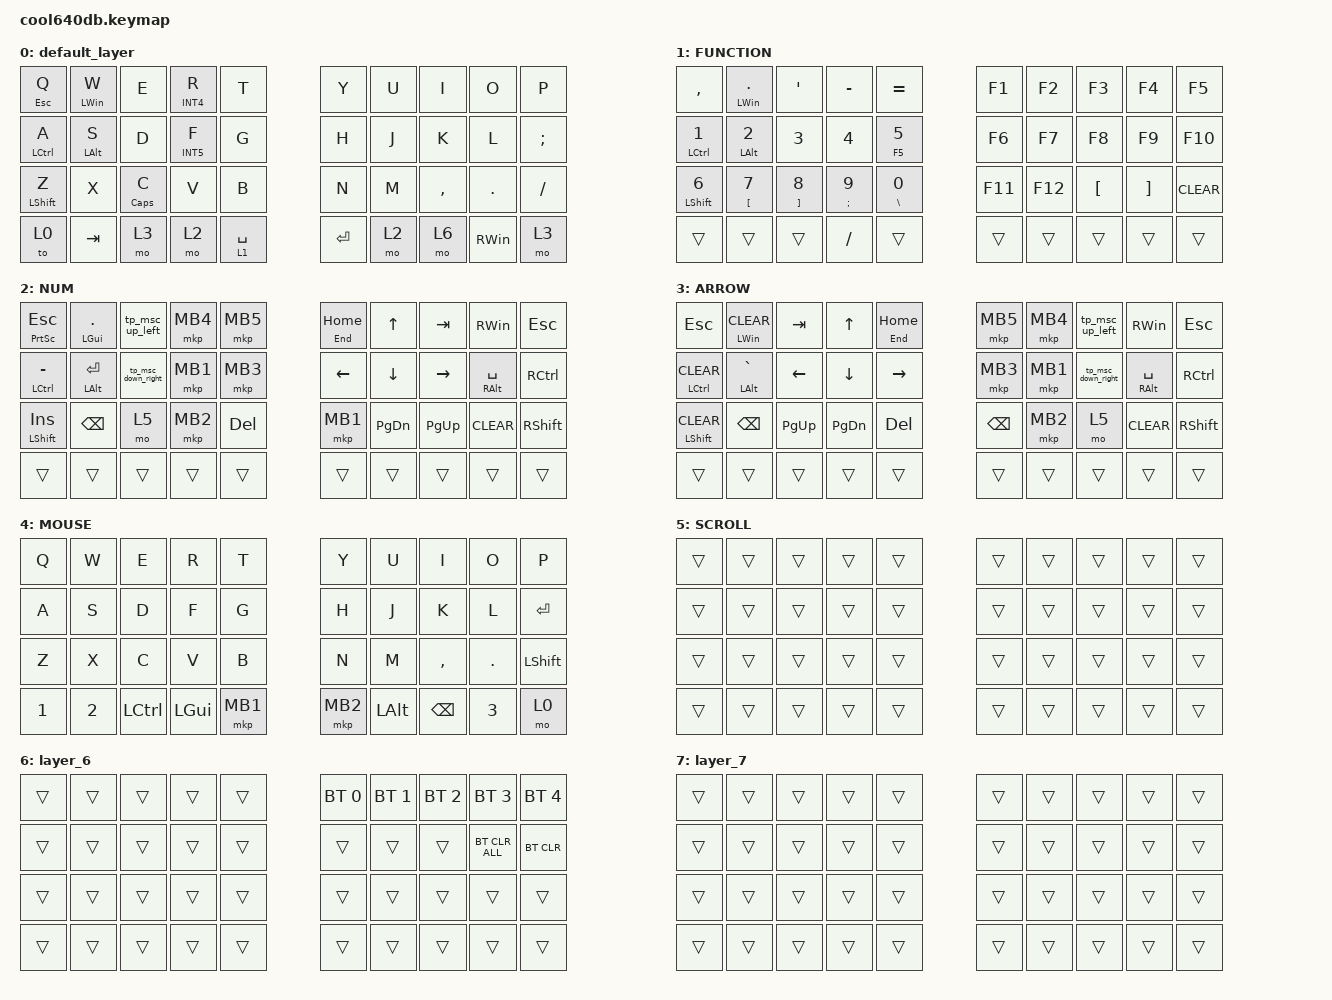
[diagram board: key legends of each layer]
#include <behaviors.dtsi>
#include <dt-bindings/zmk/bt.h>
#include <dt-bindings/zmk/keys.h>
#include <dt-bindings/zmk/pointing.h>

#define MOUSE 6

&mt {
    flavor = "balanced";
    quick-tap-ms = <0>;
    bindings = <&sticky_mod>, <&kp>;
};

/ {
    combos {
        compatible = "zmk,combos";

        m1 {
            bindings = <&kp RS(RA(F11))>;
            key-positions = <3 13>;
        };

        m2 {
            bindings = <&kp RA(RS(F12))>;
            key-positions = <4 14>;
        };

        tab_alt {
            bindings = <&lm 3 LALT>;
            key-positions = <2 33>;
            timeout-ms = <300>;
            slow-release;
        };

        tab_ctrl {
            bindings = <&lm 3 LCTRL>;
            key-positions = <2 32>;
            timeout-ms = <300>;
            slow-release;
        };

        tab_gui {
            bindings = <&lm 3 LWIN>;
            key-positions = <2 34>;
            timeout-ms = <300>;
            slow-release;
        };
    };

    macros {
        sticky_mod: sticky_mod {
            compatible = "zmk,behavior-macro-one-param";
            #binding-cells = <1>;
            bindings =
                <&macro_param_1to1>,
                <&macro_press>,
                <&kp MACRO_PLACEHOLDER>,
                <&macro_pause_for_release>,
                <&macro_wait_time 400>,
                <&none>,
                <&macro_wait_time 0>,
                <&macro_param_1to1>,
                <&macro_release>,
                <&kp MACRO_PLACEHOLDER>;

            label = "STICKY_MOD";
            wait-ms = <0>;
            tap-ms = <0>;
        };

        tap_key: tap_key {
            compatible = "zmk,behavior-macro-one-param";
            #binding-cells = <1>;
            bindings = <&macro_param_1to1 &kp MACRO_PLACEHOLDER>;
            label = "TAP_KEY";
            wait-ms = <0>;
            tap-ms = <0>;
        };

        lm: lm {
            compatible = "zmk,behavior-macro-two-param";
            #binding-cells = <2>;
            bindings =
                <&macro_param_1to1>,
                <&macro_press>,
                <&mo MACRO_PLACEHOLDER &macro_param_2to1>,
                <&macro_press>,
                <&kp MACRO_PLACEHOLDER>,
                <&macro_pause_for_release>,
                <&macro_param_2to1>,
                <&macro_release>,
                <&kp MACRO_PLACEHOLDER &macro_param_1to1>,
                <&macro_release>,
                <&mo MACRO_PLACEHOLDER>;

            label = "LM";
        };
    };

    tp_msc_down_right: tp_msc_down_right {
        compatible = "zmk,behavior-tap-dance";
        label = "TP_MSC_DOWN_RIGHT";
        #binding-cells = <0>;
        bindings = <&msc SCRL_DOWN>, <&msc SCRL_RIGHT>;

        tapping-term-ms = <300>;
    };

    tp_msc_up_left: tp_msc_up_left {
        compatible = "zmk,behavior-tap-dance";
        label = "TP_MSC_UP_LEFT";
        #binding-cells = <0>;
        bindings = <&msc SCRL_UP>, <&msc SCRL_LEFT>;

        tapping-term-ms = <300>;
    };

    mt_tap: mt_tap {
        compatible = "zmk,behavior-hold-tap";
        label = "MT_TAP";
        bindings = <&tap_key>, <&kp>;

        #binding-cells = <2>;
        tapping-term-ms = <200>;
        flavor = "balanced";
    };
};

/ {
    behaviors {
    };

    keymap {
        compatible = "zmk,keymap";

        default_layer {
            bindings = <
&mt_tap ESCAPE Q    &mt LWIN W  &kp E           &mt_tap INT4 R  &kp T        &kp Y      &kp U  &kp I      &kp O       &kp P
&mt LEFT_CONTROL A  &mt LALT S  &kp D           &mt_tap INT5 F  &kp G        &kp H      &kp J  &kp K      &kp L       &kp SEMI
&mt LSHIFT Z        &kp X       &mt_tap CAPS C  &kp V           &kp B        &kp N      &kp M  &kp COMMA  &kp PERIOD  &kp SLASH
&to 0               &kp TAB     &mo 3           &mo 2           &lt 1 SPACE  &kp ENTER  &mo 2  &mo 6      &kp RWIN    &mo 3
            >;
        };

        FUNCTION {
            bindings = <
&kp COMMA            &mt_tap LWIN PERIOD      &kp SINGLE_QUOTE          &kp MINUS             &kp EQUAL             &kp F1   &kp F2   &kp F3            &kp F4             &kp F5
&mt LEFT_CONTROL N1  &mt LEFT_ALT N2          &kp N3                    &kp N4                &mt_tap F5 N5         &kp F6   &kp F7   &kp F8            &kp F9             &kp F10
&mt LSHFT N6         &mt_tap LEFT_BRACKET N7  &mt_tap RIGHT_BRACKET N8  &mt_tap SEMICOLON N9  &mt_tap BACKSLASH N0  &kp F11  &kp F12  &kp LEFT_BRACKET  &kp RIGHT_BRACKET  &kp CLEAR
&trans               &trans                   &trans                    &kp SLASH             &trans                &trans   &trans   &trans            &trans             &trans
            >;
        };

        NUM {
            bindings = <
&mt_tap PRINTSCREEN ESCAPE  &mt LEFT_GUI PERIOD  &tp_msc_up_left     &mkp MB4  &mkp MB5  &mt_tap END HOME  &kp UP_ARROW    &kp TAB      &kp RIGHT_WIN   &kp ESCAPE
&mt LEFT_CONTROL MINUS      &mt LEFT_ALT RET     &tp_msc_down_right  &mkp MB1  &mkp MB3  &kp LEFT          &kp DOWN_ARROW  &kp RIGHT    &mt RALT SPACE  &kp RIGHT_CONTROL
&mt LEFT_SHIFT INS          &kp BACKSPACE        &mo 5               &mkp MB2  &kp DEL   &mkp MB1          &kp PAGE_DOWN   &kp PAGE_UP  &kp CLEAR       &kp RSHIFT
&trans                      &trans               &trans              &trans    &trans    &trans            &trans          &trans       &trans          &trans
            >;
        };

        ARROW {
            bindings = <
&kp ESC                 &mt LWIN CLEAR  &kp TAB         &kp UP         &mt_tap END HOME  &mkp MB5       &mkp MB4  &tp_msc_up_left     &kp RWIN        &kp ESCAPE
&mt LEFT_CONTROL CLEAR  &mt LALT GRAVE  &kp LEFT_ARROW  &kp DOWN       &kp RIGHT         &mkp MB3       &mkp MB1  &tp_msc_down_right  &mt RALT SPACE  &kp RIGHT_CONTROL
&mt LEFT_SHIFT CLEAR    &kp BACKSPACE   &kp PG_UP       &kp PAGE_DOWN  &kp DEL           &kp BACKSPACE  &mkp MB2  &mo 5               &kp CLEAR       &kp RSHIFT
&trans                  &trans          &trans          &trans         &trans            &trans         &trans    &trans              &trans          &trans
            >;
        };

        MOUSE {
            bindings = <
&kp Q   &kp W   &kp E             &kp R         &kp T     &kp Y     &kp U         &kp I          &kp O       &kp P
&kp A   &kp S   &kp D             &kp F         &kp G     &kp H     &kp J         &kp K          &kp L       &kp ENTER
&kp Z   &kp X   &kp C             &kp V         &kp B     &kp N     &kp M         &kp COMMA      &kp PERIOD  &kp LEFT_SHIFT
&kp N1  &kp N2  &kp LEFT_CONTROL  &kp LEFT_GUI  &mkp MB1  &mkp MB2  &kp LEFT_ALT  &kp BACKSPACE  &kp N3      &mo 0
            >;
        };

        SCROLL {
            bindings = <
&trans  &trans  &trans  &trans  &trans  &trans  &trans  &trans  &trans  &trans
&trans  &trans  &trans  &trans  &trans  &trans  &trans  &trans  &trans  &trans
&trans  &trans  &trans  &trans  &trans  &trans  &trans  &trans  &trans  &trans
&trans  &trans  &trans  &trans  &trans  &trans  &trans  &trans  &trans  &trans
            >;
        };

        layer_6 {
            bindings = <
&trans  &trans  &trans  &trans  &trans  &bt BT_SEL 0  &bt BT_SEL 1  &bt BT_SEL 2  &bt BT_SEL 3    &bt BT_SEL 4
&trans  &trans  &trans  &trans  &trans  &trans        &trans        &trans        &bt BT_CLR_ALL  &bt BT_CLR
&trans  &trans  &trans  &trans  &trans  &trans        &trans        &trans        &trans          &trans
&trans  &trans  &trans  &trans  &trans  &trans        &trans        &trans        &trans          &trans
            >;
        };

        layer_7 {
            bindings = <
&trans  &trans  &trans  &trans  &trans  &trans  &trans  &trans  &trans  &trans
&trans  &trans  &trans  &trans  &trans  &trans  &trans  &trans  &trans  &trans
&trans  &trans  &trans  &trans  &trans  &trans  &trans  &trans  &trans  &trans
&trans  &trans  &trans  &trans  &trans  &trans  &trans  &trans  &trans  &trans
            >;
        };
    };
};
